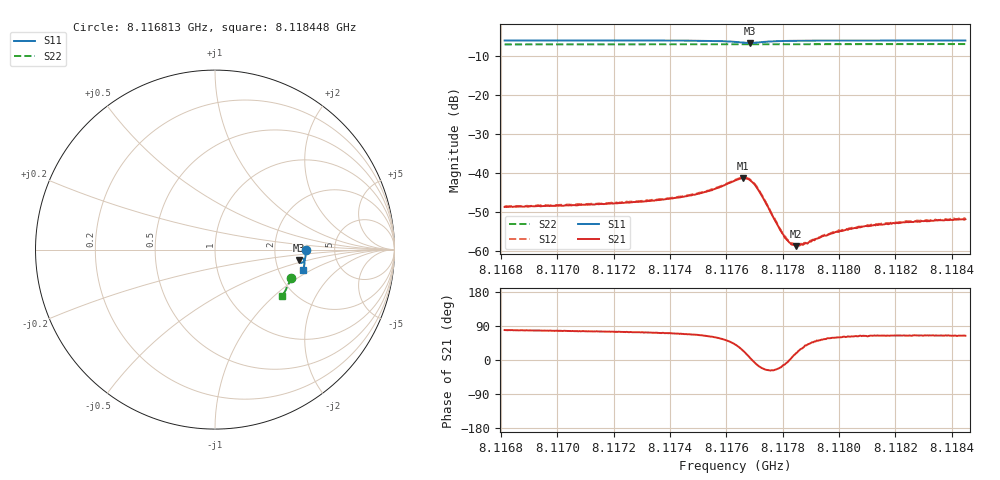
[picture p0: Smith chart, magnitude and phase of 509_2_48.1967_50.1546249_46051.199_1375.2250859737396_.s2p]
#  HZ  S  RI  R  50.00
! Rohde & Schwarz Vector Network Analyzer
! Rohde-Schwarz,ZNB20-2Port,1311601062101988,3.16
! Created: UTC 3/20/2024, 11:58:53 AM
! freq[Hz]  re:S11  im:S11  re:S21  im:S21  re:S12  im:S12  re:S22  im:S22
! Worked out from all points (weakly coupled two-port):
!   401 points, 8.116813 GHz to 8.118448 GHz, reference 50 ohm
!   highest |S21| = -41.22 dB at 8.117659 GHz (marker M1); lowest = -58.7 dB at 8.117847 GHz (marker M2)
!   lowest |S11| = -6.5 dB at 8.117684 GHz (marker M3), VSWR 2.78, Z = 136 - j20.3 ohm
!   |S11| at or under -10 dB: nowhere
!   |S22| runs from -6.9 to -6.8 dB; largest |S21 - S12| = 0.00023
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8.1168125e9  0.5067 -0.00142  0.000707 0.00365  0.000755 0.0037  0.423 -0.1561
8.1170865e9  0.5056 -0.023  0.000949 0.00384  0.00102 0.0039  0.4167 -0.1741
8.1173605e9  0.503 -0.0458  0.00145 0.00432  0.00152 0.00441  0.4097 -0.1919
8.1174423e9  0.5011 -0.0537  0.0018 0.00465  0.00187 0.00472  0.4073 -0.1971
8.1175159e9  0.4982 -0.0616  0.00242 0.00513  0.00252 0.0052  0.4051 -0.2019
8.1175731e9  0.4931 -0.0688  0.0035 0.00557  0.00363 0.00566  0.4032 -0.2056
8.1176304e9  0.4806 -0.0736  0.00612 0.00533  0.00626 0.0054  0.4009 -0.2092
8.117659e9  0.4711 -0.0692  0.00788 0.00365  0.00806 0.00368  0.3997 -0.2106
8.1176836e9  0.4676 -0.0583  0.00816 0.000841  0.00835 0.000813  0.3991 -0.2115
8.1176999e9  0.4709 -0.0512  0.00717 -0.000821  0.00733 -0.000887  0.3989 -0.2121
8.1177163e9  0.4769 -0.0472  0.00564 -0.00173  0.00576 -0.00178  0.3987 -0.213
8.1177899e9  0.4948 -0.0546  0.00179 -0.000662  0.00182 -0.000713  0.3971 -0.2181
8.1178062e9  0.4961 -0.0573  0.00148 -0.000328  0.00154 -0.000368  0.3967 -0.2191
8.1178267e9  0.4974 -0.0604  0.00128 4.31e-05  0.0013 4.48e-05  0.3962 -0.2205
8.1178471e9  0.4979 -0.0632  0.00111 0.00036  0.00117 0.000356  0.3956 -0.2219
8.1178798e9  0.4985 -0.0673  0.000992 0.000794  0.00105 0.00075  0.3945 -0.2241
8.1179044e9  0.4987 -0.07  0.000944 0.00101  0.000991 0.000994  0.3938 -0.2255
8.1179494e9  0.4986 -0.0748  0.000913 0.00131  0.000933 0.00135  0.3922 -0.2284
8.1180311e9  0.498 -0.0826  0.000878 0.00168  0.000899 0.00172  0.3896 -0.2335
8.1180884e9  0.4973 -0.0875  0.000924 0.00188  0.000965 0.00189  0.3876 -0.237
8.1181784e9  0.4961 -0.0949  0.000996 0.00203  0.000982 0.00205  0.3844 -0.2426
8.1184483e9  0.4916 -0.1158  0.00113 0.00233  0.00116 0.00238  0.3747 -0.2588
